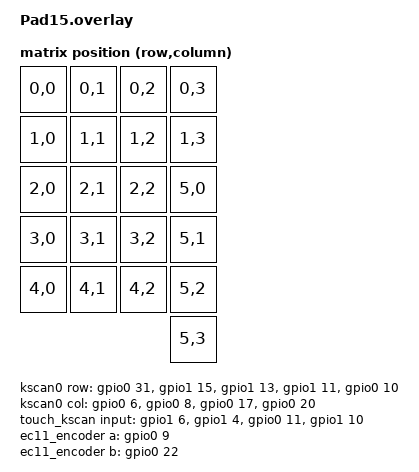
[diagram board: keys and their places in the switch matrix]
/* =========================================================================
 * Pad15 包含：按键矩阵、触摸条、物理布局、LED、摇杆、编码器、电池检测
 * ========================================================================= */

#include <physical_layouts.dtsi>
#include <dt-bindings/zmk/matrix_transform.h>
#include <dt-bindings/pinctrl/nrf-pinctrl.h>
#include <zephyr/dt-bindings/input/input-event-codes.h>
#include <zephyr/dt-bindings/adc/adc.h>
#include <dt-bindings/zmk/input_transform.h>

/ {
    chosen {
        zmk,kscan = &kscan_combo;
        zmk,physical-layout = &layout;
        zmk,underglow = &pad15_leds;
        zmk,battery = &vbatt;
    };

    /* 强制重写或创建外部电源控制 */
    ext-power {
        compatible = "zmk,ext-power-generic";
        /* 强制指定 gpio0 的 13 号引脚，高电平有效 */
        control-gpios = <&gpio0 13 GPIO_ACTIVE_HIGH>;
        init-delay-ms = <50>;
    };

    /* 1. 扫描器定义 */
    kscan0: kscan {
        compatible = "zmk,kscan-gpio-matrix";
        diode-direction = "col2row";
        col-gpios = <&gpio0 6 GPIO_ACTIVE_HIGH>,
                    <&gpio0 8 GPIO_ACTIVE_HIGH>,
                    <&gpio0 17 GPIO_ACTIVE_HIGH>,
                    <&gpio0 20 GPIO_ACTIVE_HIGH>;
        row-gpios = <&gpio0 31 (GPIO_ACTIVE_HIGH | GPIO_PULL_DOWN)>,
                    <&gpio1 15 (GPIO_ACTIVE_HIGH | GPIO_PULL_DOWN)>,
                    <&gpio1 13 (GPIO_ACTIVE_HIGH | GPIO_PULL_DOWN)>,
                    <&gpio1 11 (GPIO_ACTIVE_HIGH | GPIO_PULL_DOWN)>,
                    <&gpio0 10 (GPIO_ACTIVE_HIGH | GPIO_PULL_DOWN)>;
    };

    touch_kscan: kscan_touch {
        compatible = "zmk,kscan-gpio-direct";
        input-gpios = <&gpio1 6 (GPIO_ACTIVE_HIGH | GPIO_PULL_DOWN)>,
                      <&gpio1 4 (GPIO_ACTIVE_HIGH | GPIO_PULL_DOWN)>,
                      <&gpio0 11 (GPIO_ACTIVE_HIGH | GPIO_PULL_DOWN)>,
                      <&gpio1 10 (GPIO_ACTIVE_HIGH | GPIO_PULL_DOWN)>;
    };

    kscan_combo: kscan_combo {
        compatible = "zmk,kscan-composite";
        rows = <6>;
        columns = <4>;
        matrix {
            kscan = <&kscan0>;
        };
        touch {
            kscan = <&touch_kscan>;
            row-offset = <5>; 
        };
    };

    /* 2. 矩阵转换：将底层的 6 行揉碎，重组成你想要的 21 键视觉布局 */
    transform: matrix_transform {
        compatible = "zmk,matrix-transform";
        rows = <6>;
        columns = <4>;
        map = <
            RC(0,0) RC(0,1) RC(0,2) RC(0,3)  /* 1~3: 物理键 | 4: EC11 */
            RC(1,0) RC(1,1) RC(1,2) RC(1,3)  /* 5~7: 物理键 | 8: XBOX */
            RC(2,0) RC(2,1) RC(2,2) RC(5,0)  /* 9~11: 物理键| 12: 触摸1 */
            RC(3,0) RC(3,1) RC(3,2) RC(5,1)  /* 13~15: 物理键| 16: 触摸2 */
            RC(4,0) RC(4,1) RC(4,2) RC(5,2)  /* 17~19: 物理键| 20: 触摸3 */
                                    RC(5,3)  /* 空白区       | 21: 触摸4 */
        >;
    };

    /* 3. 物理布局 */
    layout: layout {
        compatible = "zmk,physical-layout";
        display-name = "Pad15";
        transform = <&transform>;
        kscan = <&kscan_combo>;                
        keys = <
            /* 严格的 21 键定义：宽100 高100 X Y 旋转0 RX0 RY0 */
            /* 第一排 (4键：含 EC11) */
            &key_physical_attrs 100 100   0   0   0 0 0
            &key_physical_attrs 100 100 100   0   0 0 0
            &key_physical_attrs 100 100 200   0   0 0 0
            &key_physical_attrs 100 100 300   0   0 0 0
            /* 第二排 (4键：含 XBOX) */
            &key_physical_attrs 100 100   0 100   0 0 0
            &key_physical_attrs 100 100 100 100   0 0 0
            &key_physical_attrs 100 100 200 100   0 0 0
            &key_physical_attrs 100 100 300 100   0 0 0
            /* 第三排 (4键：含 触摸1) */
            &key_physical_attrs 100 100   0 200   0 0 0
            &key_physical_attrs 100 100 100 200   0 0 0
            &key_physical_attrs 100 100 200 200   0 0 0
            &key_physical_attrs 100 100 300 200   0 0 0
            /* 第四排 (4键：含 触摸2) */
            &key_physical_attrs 100 100   0 300   0 0 0
            &key_physical_attrs 100 100 100 300   0 0 0
            &key_physical_attrs 100 100 200 300   0 0 0
            &key_physical_attrs 100 100 300 300   0 0 0
            /* 第五排 (4键：含 触摸3) */
            &key_physical_attrs 100 100   0 400   0 0 0
            &key_physical_attrs 100 100 100 400   0 0 0
            &key_physical_attrs 100 100 200 400   0 0 0
            &key_physical_attrs 100 100 300 400   0 0 0
            /* 第六排 (仅1键：触摸4) */
            &key_physical_attrs 100 100 300 500   0 0 0
        >;
    };

    /* 4. 电池与传感器节点 */
    vbatt: vbatt {
        compatible = "zmk,battery-nrf-vddh";
    };

    ec11_encoder: ec11_encoder {
        compatible = "alps,ec11";
        a-gpios = <&gpio0 9 (GPIO_PULL_UP | GPIO_ACTIVE_LOW)>; 
        b-gpios = <&gpio0 22 (GPIO_PULL_UP | GPIO_ACTIVE_LOW)>; 
        steps = <80>; 
        status = "okay";
    };

    sensors {
        compatible = "zmk,keymap-sensors";
        sensors = <&ec11_encoder>;
        triggers-per-rotation = <80>; 
    };

	joystick_listener {
        compatible = "zmk,input-listener";
        device = <&anin0>; // 必须精准指向你的第三方模拟输入节点
    };
};

/* --- 硬件外设引用区 (灯带、SPI、ADC、UART 等保持不变) --- */
&pinctrl {
    spi3_default: spi3_default {
        group1 {
            psels = <NRF_PSEL(SPIM_MOSI, 0, 24)>;
        };
    };
    spi3_sleep: spi3_sleep {
        group1 {
            psels = <NRF_PSEL(SPIM_MOSI, 0, 24)>;
            low-power-enable;
        };
    };
};

&spi3 {
    compatible = "nordic,nrf-spim";
    status = "okay";
    pinctrl-0 = <&spi3_default>;
    pinctrl-1 = <&spi3_sleep>;
    pinctrl-names = "default", "sleep";

};

&adc {
    status = "okay";
    #address-cells = <1>;
    #size-cells = <0>;

    // 为 nRF52840 声明你的两个物理 ADC 通道
    // 假设你的摇杆 X 轴接在 AIN0 (P0.02)，Y 轴接在 AIN5 (P0.29)
    channel@0 {
        reg = <0>;
        zephyr,gain = "ADC_GAIN_1_6";            // 1/6 增益，配合内部基准可测量 0-3.6V 电压
        zephyr,reference = "ADC_REF_INTERNAL";    // 使用内部 0.6V 绝对基准
        zephyr,acquisition-time = <ADC_ACQ_TIME_DEFAULT>;
        zephyr,input-positive = <NRF_SAADC_AIN0>; 
    };

    channel@5 {
        reg = <5>;
        zephyr,gain = "ADC_GAIN_1_6";
        zephyr,reference = "ADC_REF_INTERNAL";
        zephyr,acquisition-time = <ADC_ACQ_TIME_DEFAULT>;
        zephyr,input-positive = <NRF_SAADC_AIN5>;
    };
};

/ {
    // 1. 实例化 Zephyr 原生类比轴驱动（将 ADC 转化为标准的绝对轴事件）
	joystick: joystick {
	    compatible = "analog-axis";
	    poll-period-ms = <12>;
	
	    axis_x {
	        // 1. 【解决轴向颠倒】：如果此时左右拨动鼠标是上下走，直接把这里的 adc 0 换成 adc 5。
	        io-channels = <&adc 0>; 
	        zephyr,axis = <INPUT_ABS_X>;
	        in-min = <100>;
	        in-max = <4000>;
	        in-deadzone = <150>; // 如果摇杆中位依然有漂移，继续增大这个数值
	
	        // 2. 【解决方向反转】：如果你向右拨，鼠标却向左走，不需要任何复杂代码。
	        // 直接把 out-min 和 out-max 的正负值颠倒过来即可！
	        out-min = <(-127)>;  // 如果反了，改成 <127>
	        out-max = <127>;     // 如果反了，改成 <(-127)>
	    };
	
	    axis_y {
	        // 与 X 轴对应的另一个引脚
	        io-channels = <&adc 5>; 
	        zephyr,axis = <INPUT_ABS_Y>;
	        in-min = <100>;
	        in-max = <4000>;
	        in-deadzone = <150>;
	
	        // 同样，如果上下方向反了，颠倒这两个正负值
	        out-min = <(-127)>;
	        out-max = <127>;
    };
};
    // 2. 建立 ZMK 输入监听器（将上述绝对轴事件，转换为 HID 鼠标相对像素位移）
    joystick_listener: joystick_listener {
        compatible = "zmk,input-listener";
        device = <&joystick>; // 订阅上面定义的类比摇杆设备
    };
};
